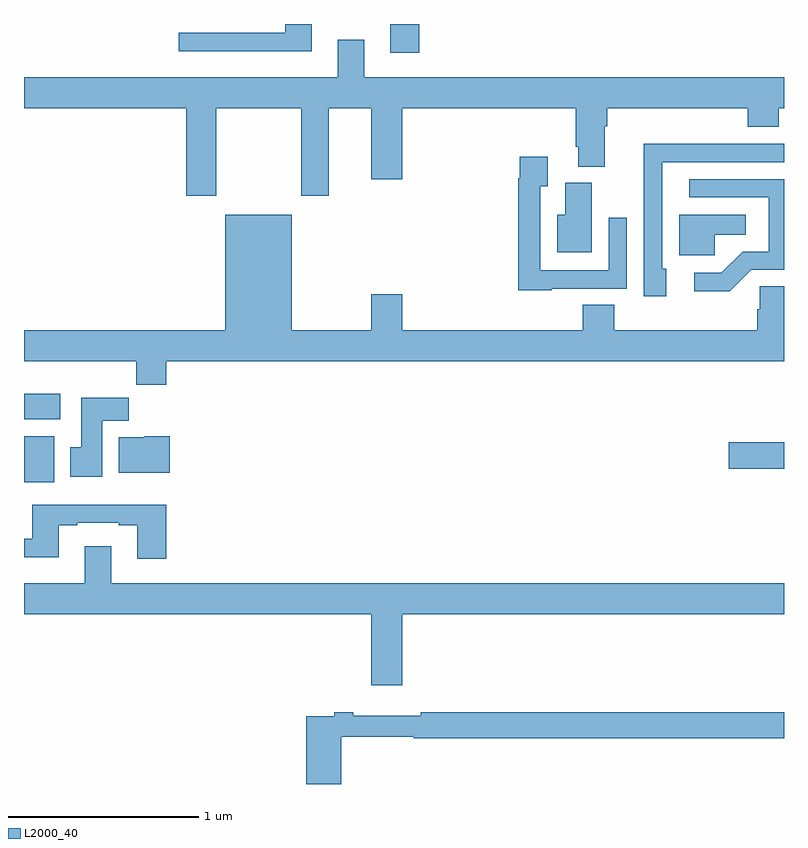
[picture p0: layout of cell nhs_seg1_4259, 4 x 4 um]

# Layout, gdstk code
import gdstk
lib = gdstk.Library(unit=1e-6, precision=1e-09)
def R(c, l, rs):  # rectangles x0, y0, x1, y1
    for r in rs: c.add(gdstk.rectangle(r[:2], r[2:], *l))
def P(c, l, *ps):  # polygons
    for p in ps: c.add(gdstk.Polygon(p, *l))
L2000_40 = (2000, 40)

nhs_seg1_4259 = lib.new_cell('nhs_seg1_4259')
R(nhs_seg1_4259, L2000_40, [(343,525.788,343.159,526.03), (346.71,525.857,347,525.999), (343,526.118,343.192,526.252), (344.927,528.048,345.08,528.199)])
P(nhs_seg1_4259, L2000_40, [(344.515,528.199),(344.375,528.199),(344.375,528.153),(343.815,528.153),(343.815,528.056),(344.515,528.056)],
  [(343,527.756),(343.853,527.756),(343.853,527.295),(344.013,527.295),(344.013,527.756),(344.458,527.756),(344.458,527.295),(344.605,527.295),(344.605,527.756),(344.828,527.756),(344.828,527.382),(344.992,527.382),(344.992,527.756),(345.905,527.756),(345.905,527.554),(345.917,527.554),(345.917,527.449),(346.057,527.449),(346.057,527.66),(346.07,527.66),(346.07,527.756),(346.808,527.756),(346.808,527.657),(346.973,527.657),(346.973,527.756),(347,527.756),(347,527.92),(344.791,527.92),(344.791,528.115),(344.651,528.115),(344.651,527.92),(343,527.92)],
  [(346.381,526.911),(346.359,526.911),(346.359,527.472),(347,527.472),(347,527.568),(346.724,527.568),(346.724,527.57),(346.262,527.57),(346.262,527.266),(346.263,527.266),(346.263,526.767),(346.381,526.767)],
  [(345.777,526.806),(346.173,526.806),(346.173,527.179),(346.077,527.179),(346.077,526.902),(345.717,526.902),(345.717,527.344),(345.757,527.344),(345.757,527.5),(345.609,527.5),(345.609,527.387),(345.601,527.387),(345.601,526.799),(345.777,526.799)],
  [(346.827,526.905),(347,526.905),(347,527.382),(346.5,527.382),(346.5,527.286),(346.92,527.286),(346.92,527.001),(346.782,527.001),(346.671,526.89),(346.527,526.89),(346.527,526.793),(346.714,526.793)],
  [(345.988,527.364),(345.848,527.364),(345.848,527.194),(345.806,527.194),(345.806,526.997),(345.988,526.997)],
  [(343.748,526.424),(347,526.424),(347,526.82),(346.872,526.82),(346.872,526.697),(346.859,526.697),(346.859,526.588),(346.106,526.588),(346.106,526.721),(345.941,526.721),(345.941,526.588),(344.992,526.588),(344.992,526.777),(344.828,526.777),(344.828,526.588),(344.41,526.588),(344.41,527.194),(344.06,527.194),(344.06,526.588),(343,526.588),(343,526.424),(343.591,526.424),(343.591,526.3),(343.748,526.3)],
  [(346.635,527.09),(346.798,527.09),(346.798,527.194),(346.448,527.194),(346.448,526.983),(346.635,526.983)],
  [(343.411,526.112),(343.55,526.112),(343.55,526.231),(343.301,526.231),(343.301,525.972),(343.244,525.972),(343.244,525.816),(343.411,525.816)],
  [(343.768,526.03),(343.632,526.03),(343.632,526.024),(343.499,526.024),(343.499,525.836),(343.768,525.836)],
  [(343.748,525.67),(343.043,525.67),(343.043,525.489),(343,525.489),(343,525.392),(343.183,525.392),(343.183,525.561),(343.279,525.561),(343.279,525.573),(343.499,525.573),(343.499,525.561),(343.595,525.561),(343.595,525.384),(343.748,525.384)],
  [(344.992,525.092),(347,525.092),(347,525.256),(343.459,525.256),(343.459,525.451),(343.319,525.451),(343.319,525.256),(343,525.256),(343,525.092),(344.828,525.092),(344.828,524.718),(344.992,524.718)],
  [(344.669,524.448),(345.052,524.448),(345.052,524.44),(347,524.44),(347,524.576),(345.088,524.576),(345.088,524.557),(344.732,524.557),(344.732,524.576),(344.632,524.576),(344.632,524.556),(344.486,524.556),(344.486,524.199),(344.669,524.199)])

lib.write_gds('nhs_seg1_4259.gds')
